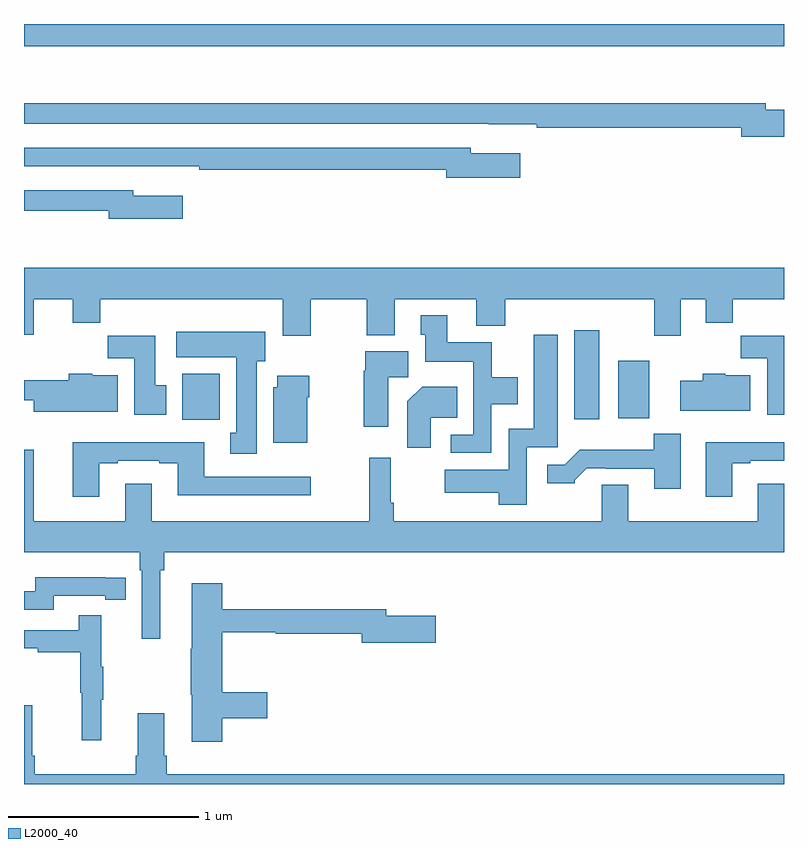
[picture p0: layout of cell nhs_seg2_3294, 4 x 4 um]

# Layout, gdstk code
import gdstk
lib = gdstk.Library(unit=1e-6, precision=1e-09)
def R(c, l, rs):  # rectangles x0, y0, x1, y1
    for r in rs: c.add(gdstk.rectangle(r[:2], r[2:], *l))
def P(c, l, *ps):  # polygons
    for p in ps: c.add(gdstk.Polygon(p, *l))
L2000_40 = (2000, 40)

nhs_seg2_3294 = lib.new_cell('nhs_seg2_3294')
R(nhs_seg2_3294, L2000_40, [(285.833,597.716,286.03,597.958), (287.897,597.72,288.028,598.189), (285,599.684,289,599.8)])
P(nhs_seg2_3294, L2000_40, [(289,599.349),(288.904,599.349),(288.904,599.383),(285,599.383),(285,599.274),(287.446,599.274),(287.446,599.273),(287.698,599.273),(287.698,599.254),(288.776,599.254),(288.776,599.207),(289,599.207)],
  [(287.611,599.119),(287.35,599.119),(287.35,599.148),(285,599.148),(285,599.052),(285.67,599.052),(285.67,599.051),(285.922,599.051),(285.922,599.032),(287.222,599.032),(287.222,598.99),(287.611,598.99)],
  [(285.835,598.897),(285.574,598.897),(285.574,598.926),(285,598.926),(285,598.818),(285.446,598.818),(285.446,598.775),(285.835,598.775)],
  [(286.509,598.352),(286.804,598.352),(286.804,598.163),(286.951,598.163),(286.951,598.352),(287.381,598.352),(287.381,598.211),(287.534,598.211),(287.534,598.352),(288.317,598.352),(288.317,598.158),(288.457,598.158),(288.457,598.352),(288.587,598.352),(288.587,598.228),(288.731,598.228),(288.731,598.352),(289,598.352),(289,598.516),(285,598.516),(285,598.164),(285.052,598.164),(285.052,598.352),(285.257,598.352),(285.257,598.228),(285.401,598.228),(285.401,598.352),(286.361,598.352),(286.361,598.158),(286.509,598.158)],
  [(287.46,597.8),(287.599,597.8),(287.599,597.94),(287.463,597.94),(287.463,598.126),(287.227,598.126),(287.227,598.267),(287.087,598.267),(287.087,598.164),(287.111,598.164),(287.111,598.022),(287.364,598.022),(287.364,597.639),(287.247,597.639),(287.247,597.543),(287.46,597.543)],
  [(286.225,598.026),(286.27,598.026),(286.27,598.18),(285.801,598.18),(285.801,598.046),(286.118,598.046),(286.118,597.65),(286.085,597.65),(286.085,597.537),(286.225,597.537)],
  [(287.646,597.573),(287.809,597.573),(287.809,598.165),(287.684,598.165),(287.684,597.67),(287.55,597.67),(287.55,597.454),(287.214,597.454),(287.214,597.332),(287.498,597.332),(287.498,597.27),(287.646,597.27)],
  [(289,598.159),(288.772,598.159),(288.772,598.04),(288.911,598.04),(288.911,597.744),(289,597.744)],
  [(285.748,597.9),(285.691,597.9),(285.691,598.159),(285.442,598.159),(285.442,598.04),(285.581,598.04),(285.581,597.744),(285.748,597.744)],
  [(286.918,597.94),(287.023,597.94),(287.023,598.078),(286.796,598.078),(286.796,597.974),(286.789,597.974),(286.789,597.681),(286.918,597.681)],
  [(288.29,597.868),(288.292,597.868),(288.292,598.027),(288.128,598.027),(288.128,597.725),(288.29,597.725)],
  [(285.493,597.952),(285.36,597.952),(285.36,597.958),(285.235,597.958),(285.235,597.924),(285,597.924),(285,597.82),(285.05,597.82),(285.05,597.758),(285.493,597.758)],
  [(288.823,597.952),(288.69,597.952),(288.69,597.958),(288.572,597.958),(288.572,597.922),(288.453,597.922),(288.453,597.764),(288.823,597.764)],
  [(286.492,597.836),(286.5,597.836),(286.5,597.949),(286.334,597.949),(286.334,597.888),(286.313,597.888),(286.313,597.596),(286.492,597.596)],
  [(287.14,597.728),(287.279,597.728),(287.279,597.892),(287.096,597.892),(287.018,597.814),(287.018,597.57),(287.14,597.57)],
  [(288.457,597.643),(288.315,597.643),(288.315,597.559),(287.926,597.559),(287.847,597.48),(287.754,597.48),(287.754,597.383),(287.898,597.383),(287.898,597.398),(287.962,597.462),(288.061,597.462),(288.061,597.459),(288.317,597.459),(288.317,597.354),(288.457,597.354)],
  [(288.727,597.489),(288.823,597.489),(288.823,597.501),(289,597.501),(289,597.598),(288.587,597.598),(288.587,597.312),(288.727,597.312)],
  [(285.397,597.489),(285.493,597.489),(285.493,597.501),(285.713,597.501),(285.713,597.489),(285.809,597.489),(285.809,597.32),(286.51,597.32),(286.51,597.417),(285.949,597.417),(285.949,597.598),(285.257,597.598),(285.257,597.312),(285.397,597.312)],
  [(285.718,596.924),(285.737,596.924),(285.737,597.02),(289,597.02),(289,597.379),(288.863,597.379),(288.863,597.184),(288.181,597.184),(288.181,597.374),(288.041,597.374),(288.041,597.184),(286.946,597.184),(286.946,597.28),(286.931,597.28),(286.931,597.517),(286.818,597.517),(286.818,597.184),(285.673,597.184),(285.673,597.379),(285.533,597.379),(285.533,597.184),(285.052,597.184),(285.052,597.559),(285,597.559),(285,597.02),(285.608,597.02),(285.608,596.924),(285.621,596.924),(285.621,596.565),(285.718,596.565)],
  [(285.156,596.79),(285.428,596.79),(285.428,596.77),(285.536,596.77),(285.536,596.886),(285.428,596.886),(285.428,596.887),(285.06,596.887),(285.06,596.814),(285,596.814),(285,596.718),(285.156,596.718)],
  [(286.043,596.146),(286.279,596.146),(286.279,596.283),(286.043,596.283),(286.043,596.598),(286.326,596.598),(286.326,596.59),(286.778,596.59),(286.778,596.543),(287.167,596.543),(287.167,596.685),(286.906,596.685),(286.906,596.719),(286.043,596.719),(286.043,596.857),(285.884,596.857),(285.884,596.513),(285.877,596.513),(285.877,596.271),(285.884,596.271),(285.884,596.022),(286.043,596.022)],
  [(285.407,596.243),(285.418,596.243),(285.418,596.417),(285.407,596.417),(285.407,596.689),(285.289,596.689),(285.289,596.61),(285,596.61),(285,596.514),(285.073,596.514),(285.073,596.494),(285.297,596.494),(285.297,596.28),(285.304,596.28),(285.304,596.031),(285.407,596.031)],
  [(289,595.852),(285.752,595.852),(285.752,595.948),(285.739,595.948),(285.739,596.173),(285.599,596.173),(285.599,595.948),(285.587,595.948),(285.587,595.852),(285.056,595.852),(285.056,595.948),(285.043,595.948),(285.043,596.215),(285,596.215),(285,595.8),(289,595.8)])

lib.write_gds('nhs_seg2_3294.gds')
